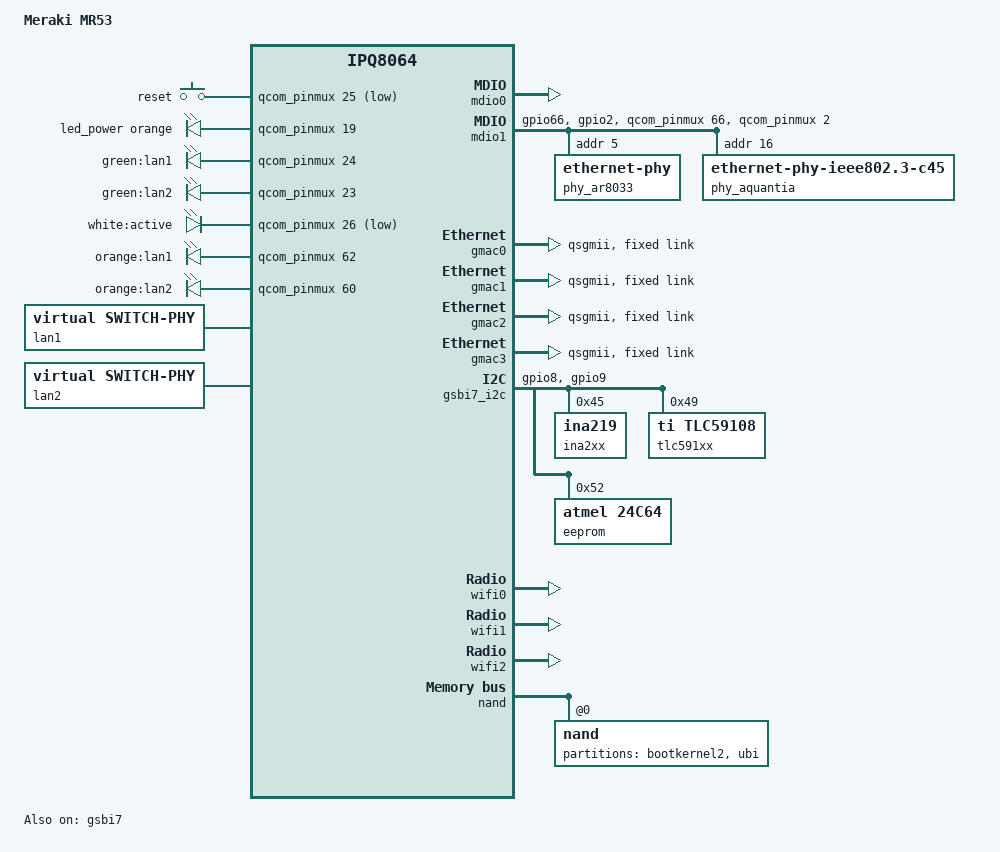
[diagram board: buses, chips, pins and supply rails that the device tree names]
// SPDX-License-Identifier: GPL-2.0-or-later OR MIT

#include "qcom-ipq8068-cryptid-common.dtsi"

#include <dt-bindings/input/input.h>
#include <dt-bindings/leds/common.h>

/ {
	model = "Meraki MR53";
	compatible = "meraki,mr53", "qcom,ipq8064-ap160", "qcom,ipq8064";

	chosen {
		bootargs = "console=ttyMSM0,115200n8";
		bootargs-append = " ubi.mtd=ubi ubi.block=0,rootfs root=/dev/ubiblock0_1 rootfstype=squashfs rootwait ubi.mtd=art";
	};	

	aliases {
		serial1 = &gsbi1_serial;
		ethernet0 = &lan1; /* 1GbE - AR8033 */
		ethernet1 = &lan2; /* 2.5GbE - Aquantia */
		mdio-gpio0 = &mdio0;
		mdio-gpio1 = &mdio1;
		label-mac-device = &lan1;
		
		led-boot = &led_active;
		led-failsafe = &led_power;
		led-running = &led_active;
		led-upgrade = &led_active;
	};

	keys {
		compatible = "gpio-keys"; 
		pinctrl-0 = <&button_pins>;
		pinctrl-names = "default";

		reset {
			label = "reset";
			gpios = <&qcom_pinmux 25 GPIO_ACTIVE_LOW>;
			linux,code = <KEY_RESTART>;
			debounce-interval = <60>;
			wakeup-source;
		};
	};

	leds {
		compatible = "gpio-leds";
		pinctrl-0 = <&led_pins>;
		pinctrl-names = "default";

		led_power: power {
			function = LED_FUNCTION_POWER;
			color = <LED_COLOR_ID_ORANGE>;
			gpios = <&qcom_pinmux 19 GPIO_ACTIVE_HIGH>;
		};

		lan1_green {
			label = "green:lan1";
			gpios = <&qcom_pinmux 24 GPIO_ACTIVE_HIGH>;
		};

		lan2_green {
			label = "green:lan2";
			gpios = <&qcom_pinmux 23 GPIO_ACTIVE_HIGH>;
		};

		led_active: active {
			label = "white:active";
			gpios = <&qcom_pinmux 26 GPIO_ACTIVE_LOW>;
		};

		lan1_orange {
			label = "orange:lan1";
			gpios = <&qcom_pinmux 62 GPIO_ACTIVE_HIGH>;
		};

		lan2_orange {
			label = "orange:lan2";
			gpios = <&qcom_pinmux 60 GPIO_ACTIVE_HIGH>;
		};
	};
};

&mdio0 {
	status = "okay";

	pinctrl-0 = <&mdio0_pins>;
	pinctrl-names = "default";
};

&soc {
	mdio1: mdio@1 {
		compatible = "virtual,mdio-gpio";
		#address-cells = <1>;
		#size-cells = <0>;
		gpios = <&qcom_pinmux 66 GPIO_ACTIVE_HIGH>,
			<&qcom_pinmux 2 GPIO_ACTIVE_HIGH>;

		pinctrl-0 = <&mdio1_pin_clk>, <&mdio1_pin_data>;
		pinctrl-names = "default";

		phy_ar8033: ethernet-phy@5 {
			device_type = "ethernet-phy";
			reg = <0x5>;			
		};

		phy_aquantia: ethernet-phy@10 {
			compatible = "ethernet-phy-ieee802.3-c45";
			reg = <0x10>;
		};
	};

	/* Virtual netdev for 1GbE port (AR8033 PHY via single GMAC) */
	lan1: switch-phy@1 {
		compatible = "virtual,switch-phy";
		label = "lan1";
		
		/* PHY this netdev represents */
		phy-handle = <&phy_ar8033>;
		
		/* Parent netdev that carries traffic */
		parent-netdevs = <&gmac0>;
		nvmem-cells = <&mac_address 0>;
		nvmem-cell-names = "mac-address";
	};
	
	/* Virtual netdev for 2.5GbE port (Aquantia PHY via bonded GMACs) */
	lan2: switch-phy@0 {
		compatible = "virtual,switch-phy";
		label = "lan2";
		
		phy-handle = <&phy_aquantia>;
		parent-netdevs = <&gmac1>, <&gmac2>, <&gmac3>;
		
		/* Bond configuration */
		bond-name = "bond-lan2";
		bond-mode = "balance-xor";
		bond-xmit-hash = "layer2+3";

		nvmem-cells = <&mac_address 1>;
		nvmem-cell-names = "mac-address";
	};
		
	/* QCA8511 switch - uses both MDIO buses */
	qca-85xx-sw {
		compatible = "qcom,qca-85xx-sw";
		mdiobus = <&mdio0>;
		sgmii-plus-phy-handle = <&phy_aquantia>;
		
		qcom,chip-id = <1>;
		qcom,qsgmii-cfg-port-mode = <1>;
		qcom,qsgmii-cfg-port-base = <1>;
		qcom,qsgmii-cfg-is-speed-forced = <1>;
		qcom,qsgmii-cfg-forced-speed = <1000>;
		qcom,qsgmii-cfg-forced-duplex = <1>;

		qcom,port-26-cfg-port-mode = <2>;
		qcom,port-26-cfg-is-speed-forced = <0>;

		qcom,port-27-cfg-port-mode = <3>;
		qcom,port-27-cfg-is-speed-forced = <1>;
		qcom,port-27-cfg-forced-speed = <2500>;
		qcom,port-27-cfg-forced-duplex = <1>;

		qcom,trunk-cfg-is-trunk-enabled = <1>;
		qcom,trunk-cfg-trunk-id = <0>;
		qcom,trunk-cfg-trunk-hash-policy = <0xff>;
		qcom,trunk-cfg-trunk-ports-bit-map = <0x1c>;
		
		qcom,port-isolation-enable = <1>;

		qcom,port-isolation-profile0-ports = <2 3 4 27>;
		qcom,port-isolation-profile0-id = <1>;

		qcom,port-isolation-profile1-ports = <1 26>;
		qcom,port-isolation-profile1-id = <2>;

		qcom,disable-learning-ports = <1 2 3 4 26 27>;
		
		qcom,gmac-devices = <&gmac0>, <&gmac1>, <&gmac2>, <&gmac3>;
	};
};

&gmac0 {
    status = "okay";
    qcom,id = <0>;
    qcom,nss-common = <&nss_common>;
    qcom,qsgmii-csr = <&qsgmii_csr>;
    phy-mode = "qsgmii";
	nvmem-cells = <&mac_address 0>;
	nvmem-cell-names = "mac-address";
	label = "cpu0";
    fixed-link {
        speed = <1000>;
        full-duplex;
    };
};

&gmac1 {
    status = "okay";
    qcom,id = <1>;
    qcom,nss-common = <&nss_common>;
    qcom,qsgmii-csr = <&qsgmii_csr>;
    phy-mode = "qsgmii";
	nvmem-cells = <&mac_address 1>;
	nvmem-cell-names = "mac-address";
	label = "cpu1"; 
    fixed-link {
        speed = <1000>;
        full-duplex;
    };
};

&gmac2 {
	status = "okay";
	qcom,id = <2>;
	qcom,nss-common = <&nss_common>;
	qcom,qsgmii-csr = <&qsgmii_csr>;
	phy-mode = "qsgmii";
	nvmem-cells = <&mac_address 2>;
	nvmem-cell-names = "mac-address";
	label = "cpu2"; 
	fixed-link {
		speed = <1000>;
		full-duplex;
	};
};

&gmac3 {
    status = "okay";
    qcom,id = <3>;
    qcom,nss-common = <&nss_common>;
    qcom,qsgmii-csr = <&qsgmii_csr>;
    phy-mode = "qsgmii";
	nvmem-cells = <&mac_address 3>;
	nvmem-cell-names = "mac-address";
	label = "cpu3";
    fixed-link {
        speed = <1000>;
        full-duplex;
    };
};

&gsbi7 {
	status = "okay";
	qcom,mode = <GSBI_PROT_I2C>;
};

&gsbi7_i2c {
	status = "okay";

	pinctrl-0 = <&i2c_pins>;
	pinctrl-names = "default";

	ina2xx@45 {
		compatible = "ina219";
		shunt-resistor = <95000>;
		reg = <0x45>;
	};

	tlc591xx@49 {
		#address-cells = <1>;
		#size-cells = <0>;
		compatible = "ti,tlc59108";
		reg = <0x49>;

		red@0 {
			label = "red:user";
			reg = <0x0>;
		};

		green@1 {
			label = "green:user";
			reg = <0x1>;
		};

		blue@2 {
			label = "blue:user";
			reg = <0x2>;
		};
	};

	eeprom@52 {
		compatible = "atmel,24c64";
		pagesize = <32>;
		reg = <0x52>;
		read-only;

		nvmem-layout {
			compatible = "fixed-layout";
			#address-cells = <1>;
			#size-cells = <1>;

			mac_address: mac-address@66 {
				compatible = "mac-base";
				reg = <0x66 0x6>;
				#nvmem-cell-cells = <1>;
			};
		};
	};
};

&qcom_pinmux {
	i2c_pins: i2c_pins {
		pins = "gpio8", "gpio9";
		function = "gsbi7";
		drive-strength = <2>;
		bias-pull-up;
		input;
	};

	led_pins: led_pins {
		pins = "gpio19", "gpio26";
		function = "gpio";
		drive-strength = <12>;
		bias-pull-down;
		output-low;
	};

	button_pins: button_pins {
		pins = "gpio25";
		function = "gpio";
		drive-strength = <2>;
		bias-pull-up;
		input;
	};

	mdio1_pin_clk: mdio1-state-clk {
		pins = "gpio66";
		function = "gpio";
		drive-strength = <8>;
		bias-disable;
	};
	
	mdio1_pin_data: mdio1-state-data {
		pins = "gpio2";
		function = "gpio";
		drive-strength = <16>;
		bias-disable;
	};
};

&wifi0 {
	nvmem-cells = <&mac_address 4>;
	nvmem-cell-names = "mac-address";
};

&wifi1 {
	nvmem-cells = <&mac_address 3>;
	nvmem-cell-names = "mac-address";
};

&wifi2 {
	nvmem-cells = <&mac_address 2>;
	nvmem-cell-names = "mac-address";
};

/* custom layout to reclaim some wasted bootkernel2 space for ubi */
&nand {
	nand@0 {
		partitions {
			/delete-node/ partition@2c40000;
			/delete-node/ partition@36c0000;

			partition@2c40000 {
				label = "bootkernel2";
				reg = <0x2c40000 0x40000>;
			};

			partition@2c80000 {
				label = "ubi";
				reg = <0x2c80000 0x5100000>;
			};
		};
	};
};
